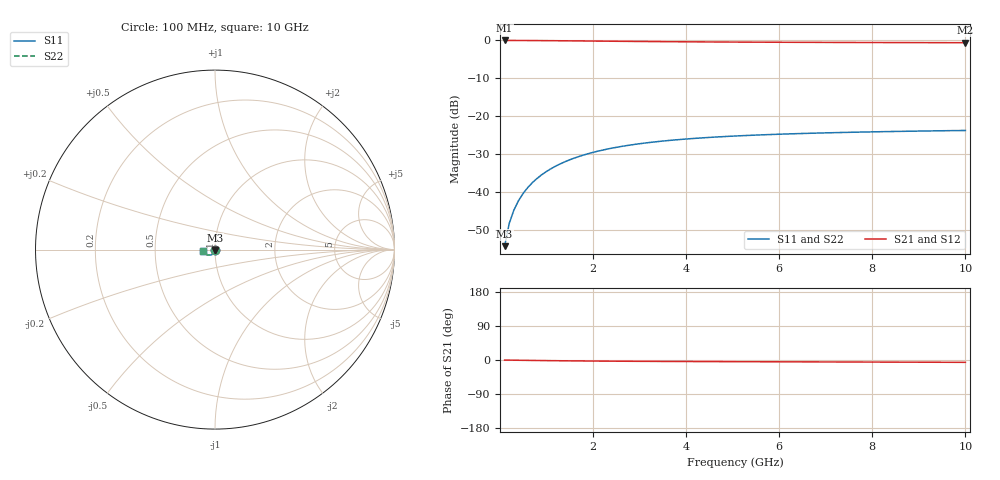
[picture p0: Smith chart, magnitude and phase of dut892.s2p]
! Touchstone file exported from HFSS 2024.1.0
!  File:  C:/UserFiles/LocalFiles/RDL_TSV_Batchsim/temp_TSV1_892_1779885097.aedt
!  Generated:  08:36:50 PM May 27, 2026
!  Design:  TSV1
!  Project:  temp_TSV1_892_1779885097
!  Setup:  Setup1
!  Solution:  Sweep
! Variables:
!  dtsv = 13.18um
!  hbump = 3um
!  htsv = 96.97um
!  lrdl = 252.1521522um
!  p = 40
!  p1 = 54.1um
!  t = 500um
!  trdl = 3um
!  wrdl = 24.89489489um
# GHz S MA R 50.000000
! Terminal data exported
! Port[1] = TSV22_T1
! Port[2] = TSV22_T2
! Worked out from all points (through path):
!   100 points, 100 MHz to 10 GHz, reference 50 ohm
!   highest |S21| = 0.00 dB at 100 MHz (marker M1); lowest = -0.6 dB at 10 GHz (marker M2)
!   lowest |S11| = -54.2 dB at 100 MHz (marker M3), VSWR 1.00, Z = 50 - j0.196 ohm
!   |S11| at or under -10 dB: start of sweep to end of sweep
!   |S22| runs from -54.2 to -23.7 dB; largest |S21 - S12| = 1.2e-14
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0.1  0.001957 -88.9  0.9998 -0.2  0.9998 -0.2  0.001957 -88.9
! Gamma 0 0 0 0
! Port Impedance 50 0 50 0
0.2  0.00391 -92.1  0.9996 -0.3  0.9996 -0.3  0.00391 -92.1
0.3  0.005859 -94.3  0.9993 -0.5  0.9993 -0.5  0.005859 -94.3
0.4  0.007798 -96.4  0.9988 -0.7  0.9988 -0.7  0.007798 -96.4
0.5  0.009717 -98.3  0.9983 -0.8  0.9983 -0.8  0.009717 -98.3
0.6  0.01161 -100.3  0.9976 -1.0  0.9976 -1.0  0.01161 -100.3
0.7  0.01348 -102.1  0.9969 -1.1  0.9969 -1.1  0.01348 -102.1
0.8  0.0153 -104.0  0.996 -1.3  0.996 -1.3  0.0153 -104.0
0.9  0.01709 -105.8  0.9951 -1.4  0.9951 -1.4  0.01709 -105.8
1.1  0.02054 -109.2  0.993 -1.7  0.993 -1.7  0.02054 -109.2
1.4  0.02535 -114.2  0.9895 -2.1  0.9895 -2.1  0.02535 -114.2
1.6  0.0283 -117.3  0.987 -2.3  0.987 -2.3  0.0283 -117.3
1.8  0.03105 -120.2  0.9844 -2.6  0.9844 -2.6  0.03105 -120.2
2.1  0.0348 -124.3  0.9805 -2.8  0.9805 -2.8  0.0348 -124.3
2.5  0.03915 -129.3  0.9755 -3.2  0.9755 -3.2  0.03915 -129.3
2.9  0.04284 -133.8  0.9707 -3.4  0.9707 -3.4  0.04284 -133.8
3.4  0.04668 -138.7  0.9654 -3.7  0.9654 -3.7  0.04668 -138.7
4.2  0.05144 -145.4  0.9581 -4.1  0.9581 -4.1  0.05144 -145.4
5.1  0.05536 -151.5  0.9518 -4.4  0.9518 -4.4  0.05536 -151.5
6.7  0.06005 -160.0  0.9437 -5.0  0.9437 -5.0  0.06005 -160.0
8.4  0.06323 -166.9  0.9381 -5.6  0.9381 -5.6  0.06323 -166.9
10  0.0653 -172.3  0.9346 -6.2  0.9346 -6.2  0.0653 -172.3
